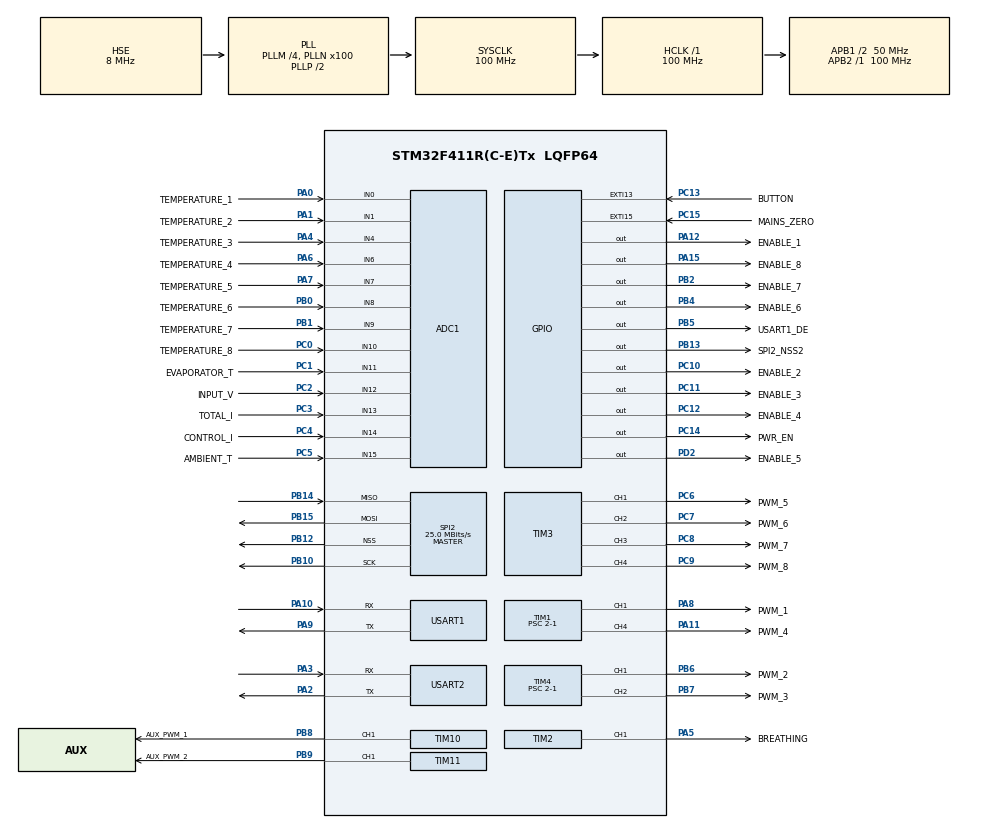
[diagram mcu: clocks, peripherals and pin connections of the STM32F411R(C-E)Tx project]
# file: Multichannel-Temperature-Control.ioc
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ADC1.Channel-14\#ChannelRegularConversion=ADC_CHANNEL_0
ADC1.Channel-15\#ChannelRegularConversion=ADC_CHANNEL_1
ADC1.Channel-16\#ChannelRegularConversion=ADC_CHANNEL_4
ADC1.Channel-17\#ChannelRegularConversion=ADC_CHANNEL_6
ADC1.Channel-18\#ChannelRegularConversion=ADC_CHANNEL_7
ADC1.Channel-19\#ChannelRegularConversion=ADC_CHANNEL_8
ADC1.Channel-20\#ChannelRegularConversion=ADC_CHANNEL_9
ADC1.Channel-21\#ChannelRegularConversion=ADC_CHANNEL_10
ADC1.Channel-22\#ChannelRegularConversion=ADC_CHANNEL_11
ADC1.Channel-23\#ChannelRegularConversion=ADC_CHANNEL_12
ADC1.Channel-24\#ChannelRegularConversion=ADC_CHANNEL_13
ADC1.Channel-25\#ChannelRegularConversion=ADC_CHANNEL_14
ADC1.Channel-26\#ChannelRegularConversion=ADC_CHANNEL_15
ADC1.ContinuousConvMode=ENABLE
ADC1.DMAContinuousRequests=ENABLE
ADC1.EOCSelection=ADC_EOC_SEQ_CONV
ADC1.NbrOfConversion=13
ADC1.NbrOfConversionFlag=1
ADC1.Rank-14\#ChannelRegularConversion=1
ADC1.Rank-15\#ChannelRegularConversion=2
ADC1.Rank-16\#ChannelRegularConversion=3
ADC1.Rank-17\#ChannelRegularConversion=4
ADC1.Rank-18\#ChannelRegularConversion=5
ADC1.Rank-19\#ChannelRegularConversion=6
ADC1.Rank-20\#ChannelRegularConversion=7
ADC1.Rank-21\#ChannelRegularConversion=8
ADC1.Rank-22\#ChannelRegularConversion=9
ADC1.Rank-23\#ChannelRegularConversion=10
ADC1.Rank-24\#ChannelRegularConversion=11
ADC1.Rank-25\#ChannelRegularConversion=12
ADC1.Rank-26\#ChannelRegularConversion=13
ADC1.SamplingTime-14\#ChannelRegularConversion=ADC_SAMPLETIME_3CYCLES
ADC1.SamplingTime-15\#ChannelRegularConversion=ADC_SAMPLETIME_3CYCLES
ADC1.SamplingTime-16\#ChannelRegularConversion=ADC_SAMPLETIME_3CYCLES
ADC1.SamplingTime-17\#ChannelRegularConversion=ADC_SAMPLETIME_3CYCLES
ADC1.SamplingTime-18\#ChannelRegularConversion=ADC_SAMPLETIME_3CYCLES
ADC1.SamplingTime-19\#ChannelRegularConversion=ADC_SAMPLETIME_3CYCLES
ADC1.SamplingTime-20\#ChannelRegularConversion=ADC_SAMPLETIME_3CYCLES
ADC1.SamplingTime-21\#ChannelRegularConversion=ADC_SAMPLETIME_3CYCLES
ADC1.SamplingTime-22\#ChannelRegularConversion=ADC_SAMPLETIME_3CYCLES
ADC1.SamplingTime-23\#ChannelRegularConversion=ADC_SAMPLETIME_3CYCLES
ADC1.SamplingTime-24\#ChannelRegularConversion=ADC_SAMPLETIME_3CYCLES
ADC1.SamplingTime-25\#ChannelRegularConversion=ADC_SAMPLETIME_3CYCLES
ADC1.SamplingTime-26\#ChannelRegularConversion=ADC_SAMPLETIME_3CYCLES
ADC1.master=1
Dma.ADC1.0.Direction=DMA_PERIPH_TO_MEMORY
Dma.ADC1.0.FIFOMode=DMA_FIFOMODE_DISABLE
Dma.ADC1.0.Instance=DMA2_Stream0
Dma.ADC1.0.MemDataAlignment=DMA_MDATAALIGN_HALFWORD
Dma.ADC1.0.MemInc=DMA_MINC_ENABLE
Dma.ADC1.0.Mode=DMA_CIRCULAR
Dma.ADC1.0.PeriphDataAlignment=DMA_PDATAALIGN_HALFWORD
Dma.ADC1.0.PeriphInc=DMA_PINC_DISABLE
Dma.ADC1.0.Priority=DMA_PRIORITY_LOW
Dma.Request0=ADC1
Mcu.Family=STM32F4
Mcu.Name=STM32F411R(C-E)Tx
Mcu.Package=LQFP64
NVIC.DMA2_Stream0_IRQn=true\:0\:0\:false\:false\:true\:false\:true\:true
NVIC.PriorityGroup=NVIC_PRIORITYGROUP_4
NVIC.SPI2_IRQn=true\:0\:0\:false\:false\:true\:true\:true\:true
NVIC.USART1_IRQn=true\:0\:0\:false\:false\:true\:true\:true\:true
NVIC.USART2_IRQn=true\:0\:0\:false\:false\:true\:true\:true\:true
PA0-WKUP.GPIO_Label=TEMPERATURE_1
PA0-WKUP.Signal=ADCx_IN0
PA1.GPIO_Label=TEMPERATURE_2
PA1.Signal=ADCx_IN1
PA10.Mode=Asynchronous
PA10.Signal=USART1_RX
PA11.GPIO_Label=PWM_4
PA11.Signal=S_TIM1_CH4
PA12.GPIO_Label=ENABLE_1
PA12.Signal=GPIO_Output
PA13.Mode=Trace_Asynchronous_SW
PA13.Signal=SYS_JTMS-SWDIO
PA14.Mode=Trace_Asynchronous_SW
PA14.Signal=SYS_JTCK-SWCLK
PA15.GPIO_Label=ENABLE_8
PA15.Signal=GPIO_Output
PA2.Mode=Asynchronous
PA2.Signal=USART2_TX
PA3.Mode=Asynchronous
PA3.Signal=USART2_RX
PA4.GPIO_Label=TEMPERATURE_3
PA4.Signal=ADCx_IN4
PA5.GPIO_Label=BREATHING
PA5.Signal=S_TIM2_CH1_ETR
PA6.GPIO_Label=TEMPERATURE_4
PA6.Signal=ADCx_IN6
PA7.GPIO_Label=TEMPERATURE_5
PA7.Signal=ADCx_IN7
PA8.GPIO_Label=PWM_1
PA8.Signal=S_TIM1_CH1
PA9.Mode=Asynchronous
PA9.Signal=USART1_TX
PB0.GPIO_Label=TEMPERATURE_6
PB0.Signal=ADCx_IN8
PB1.GPIO_Label=TEMPERATURE_7
PB1.Signal=ADCx_IN9
PB10.Mode=Full_Duplex_Master
PB10.Signal=SPI2_SCK
PB12.Mode=NSS_Signal_Hard_Output
PB12.Signal=SPI2_NSS
PB13.GPIO_Label=SPI2_NSS2
PB13.Signal=GPIO_Output
PB14.Mode=Full_Duplex_Master
PB14.Signal=SPI2_MISO
PB15.Mode=Full_Duplex_Master
PB15.Signal=SPI2_MOSI
PB2.GPIO_Label=ENABLE_7
PB2.Signal=GPIO_Output
PB3.Mode=Trace_Asynchronous_SW
PB3.Signal=SYS_JTDO-SWO
PB4.GPIO_Label=ENABLE_6
PB4.Signal=GPIO_Output
PB5.GPIO_Label=USART1_DE
PB5.Signal=GPIO_Output
PB6.GPIO_Label=PWM_2
PB6.Signal=S_TIM4_CH1
PB7.GPIO_Label=PWM_3
PB7.Signal=S_TIM4_CH2
PB8.GPIO_Label=AUX_PWM_1
PB8.Signal=S_TIM10_CH1
PB9.GPIO_Label=AUX_PWM_2
PB9.Signal=S_TIM11_CH1
PC0.GPIO_Label=TEMPERATURE_8
PC0.Signal=ADCx_IN10
PC1.GPIO_Label=EVAPORATOR_T
PC1.Signal=ADCx_IN11
PC10.GPIO_Label=ENABLE_2
PC10.Signal=GPIO_Output
PC11.GPIO_Label=ENABLE_3
PC11.Signal=GPIO_Output
PC12.GPIO_Label=ENABLE_4
PC12.Signal=GPIO_Output
PC13-ANTI_TAMP.GPIO_Label=BUTTON
PC13-ANTI_TAMP.Signal=GPXTI13
PC14-OSC32_IN.GPIO_Label=PWR_EN
PC14-OSC32_IN.Signal=GPIO_Output
PC15-OSC32_OUT.GPIO_Label=MAINS_ZERO
PC15-OSC32_OUT.Signal=GPXTI15
PC2.GPIO_Label=INPUT_V
PC2.Signal=ADCx_IN12
PC3.GPIO_Label=TOTAL_I
PC3.Signal=ADCx_IN13
PC4.GPIO_Label=CONTROL_I
PC4.Signal=ADCx_IN14
PC5.GPIO_Label=AMBIENT_T
PC5.Signal=ADCx_IN15
PC6.GPIO_Label=PWM_5
PC6.Signal=S_TIM3_CH1
PC7.GPIO_Label=PWM_6
PC7.Signal=S_TIM3_CH2
PC8.GPIO_Label=PWM_7
PC8.Signal=S_TIM3_CH3
PC9.GPIO_Label=PWM_8
PC9.Signal=S_TIM3_CH4
PD2.GPIO_Label=ENABLE_5
PD2.Signal=GPIO_Output
PH0\ -\ OSC_IN.Mode=HSE-External-Clock-Source
PH0\ -\ OSC_IN.Signal=RCC_OSC_IN
PH1\ -\ OSC_OUT.Mode=HSE-External-Clock-Source
PH1\ -\ OSC_OUT.Signal=RCC_OSC_OUT
ProjectManager.HeapSize=0x200
ProjectManager.StackSize=0x400
ProjectManager.TargetToolchain=STM32CubeIDE
RCC.48MHZClocksFreq_Value=50000000
RCC.AHBFreq_Value=100000000
RCC.APB1CLKDivider=RCC_HCLK_DIV2
RCC.APB1Freq_Value=50000000
RCC.APB1TimFreq_Value=100000000
RCC.APB2Freq_Value=100000000
RCC.APB2TimFreq_Value=100000000
RCC.CortexFreq_Value=100000000
RCC.HCLKFreq_Value=100000000
RCC.HSE_VALUE=8000000
RCC.HSI_VALUE=16000000
RCC.LSE_VALUE=32768
RCC.PLLM=4
RCC.PLLN=100
RCC.PLLSourceVirtual=RCC_PLLSOURCE_HSE
RCC.SYSCLKFreq_VALUE=100000000
RCC.SYSCLKSource=RCC_SYSCLKSOURCE_PLLCLK
RCC.VCOOutputFreq_Value=200000000
SH.ADCx_IN0.0=ADC1_IN0,IN0
SH.ADCx_IN1.0=ADC1_IN1,IN1
SH.ADCx_IN10.0=ADC1_IN10,IN10
SH.ADCx_IN11.0=ADC1_IN11,IN11
SH.ADCx_IN12.0=ADC1_IN12,IN12
SH.ADCx_IN13.0=ADC1_IN13,IN13
SH.ADCx_IN14.0=ADC1_IN14,IN14
SH.ADCx_IN15.0=ADC1_IN15,IN15
SH.ADCx_IN4.0=ADC1_IN4,IN4
SH.ADCx_IN6.0=ADC1_IN6,IN6
SH.ADCx_IN7.0=ADC1_IN7,IN7
SH.ADCx_IN8.0=ADC1_IN8,IN8
SH.ADCx_IN9.0=ADC1_IN9,IN9
SH.S_TIM10_CH1.0=TIM10_CH1,PWM Generation1 CH1
SH.S_TIM11_CH1.0=TIM11_CH1,PWM Generation1 CH1
SH.S_TIM1_CH1.0=TIM1_CH1,PWM Generation1 CH1
SH.S_TIM1_CH4.0=TIM1_CH4,PWM Generation4 CH4
SH.S_TIM2_CH1_ETR.0=TIM2_CH1,PWM Generation1 CH1
SH.S_TIM3_CH1.0=TIM3_CH1,PWM Generation1 CH1
SH.S_TIM3_CH2.0=TIM3_CH2,PWM Generation2 CH2
SH.S_TIM3_CH3.0=TIM3_CH3,PWM Generation3 CH3
SH.S_TIM3_CH4.0=TIM3_CH4,PWM Generation4 CH4
SH.S_TIM4_CH1.0=TIM4_CH1,PWM Generation1 CH1
SH.S_TIM4_CH2.0=TIM4_CH2,PWM Generation2 CH2
SPI2.CalculateBaudRate=25.0 MBits/s
SPI2.Direction=SPI_DIRECTION_2LINES
SPI2.Mode=SPI_MODE_MASTER
SPI2.VirtualNSS=VM_NSSHARD
SPI2.VirtualType=VM_MASTER
TIM1.Channel-PWM\ Generation1\ CH1=TIM_CHANNEL_1
TIM1.Channel-PWM\ Generation4\ CH4=TIM_CHANNEL_4
TIM1.Period=5000-1
TIM1.Prescaler=2-1
TIM10.Channel=TIM_CHANNEL_1
TIM11.Channel=TIM_CHANNEL_1
TIM2.Channel-PWM\ Generation1\ CH1=TIM_CHANNEL_1
TIM2.Channel-PWM\ Generation2\ CH2=TIM_CHANNEL_2
TIM2.Channel-PWM\ Generation3\ CH3=TIM_CHANNEL_3
TIM3.Channel-PWM\ Generation1\ CH1=TIM_CHANNEL_1
TIM3.Channel-PWM\ Generation2\ CH2=TIM_CHANNEL_2
TIM3.Channel-PWM\ Generation3\ CH3=TIM_CHANNEL_3
TIM3.Channel-PWM\ Generation4\ CH4=TIM_CHANNEL_4
TIM4.Channel-PWM\ Generation1\ CH1=TIM_CHANNEL_1
TIM4.Channel-PWM\ Generation2\ CH2=TIM_CHANNEL_2
TIM4.Period=5000-1
TIM4.Prescaler=2-1
USART1.VirtualMode=VM_ASYNC
USART2.VirtualMode=VM_ASYNC
VP_TIM10_VS_ClockSourceINT.Mode=Enable_Timer
VP_TIM11_VS_ClockSourceINT.Mode=Enable_Timer
board=custom

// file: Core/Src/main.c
/* USER CODE BEGIN Header */
/**
 ******************************************************************************
 * @file           : main.c
 * @brief          : Main program body
 ******************************************************************************
 * @attention
 *
 * Copyright (c) 2022 STMicroelectronics.
 * All rights reserved.
 *
 * This software is licensed under terms that can be found in the LICENSE file
 * in the root directory of this software component.
 * If no LICENSE file comes with this software, it is provided AS-IS.
 *
 ******************************************************************************
 */
/* USER CODE END Header */
#include "main.h"
#include "adc.h"
#include "dma.h"
#include "gpio.h"
#include "spi.h"
#include "tim.h"
#include "usart.h"

/* USER CODE BEGIN Includes */
#include <string.h>
/* USER CODE END Includes */

/* USER CODE BEGIN PV */
const uint8_t ctrl_meas = 0b01110100;
const uint8_t ctrl_hum = 0b01110010;
const uint8_t config = 0b01110101;
const uint8_t status = 0b11110011;
const uint8_t hum_msb = 0b11111101;
const uint8_t temp_msb = 0b11111010;
const uint8_t dig_H1_addr = 0b10100001;
const uint8_t dig_H2_addr = 0b11100001;
const uint8_t dig_H3_addr = 0b11100011;
const uint8_t dig_H4_addr = 0b11100100;
const uint8_t dig_H5_addr = 0b11100101;
const uint8_t dig_H6_addr = 0b11100111;
const uint8_t dig_T1_addr = 0b10001000;
const uint8_t dig_T2_addr = 0b10001010;
const uint8_t dig_T3_addr = 0b10001100;
/* USER CODE END PV */

void SystemClock_Config(void);
/* USER CODE BEGIN PFP */
void cpp_main();

/* USER CODE END PFP */

int main(void)
{
    /* USER CODE BEGIN 1 */
    /**
     * @notes
     *
     * 1. DMA is not setup.
     * 2. ADC conversion sequence is not setup.
     * 3. C++ integration is not setup.
     * 4. Test if DMA bug is present for this MCU.
     * 5. Check timing in all classes. Main clock is now much higher. APB1 and
     * APB2 are on different clocks.
     * 6. Run on real hardware...
     * 7. Full regression test as much as possible. If don't know what
     * regression test is, read up on it.
     */
	HAL_StatusTypeDef ret;
	uint8_t hum_val[3]; //humidity raw value
	uint8_t temp_val[3]; //temperature raw value
	typedef int32_t BME280_S32_t;
	typedef uint32_t BME280_U32_t;
	BME280_S32_t t_fine, adc_T, adc_H;
	uint8_t spi_buff[5]; //SPI buffer not for measurements
	uint8_t hum_osrs = 0b00000001; //enable humidity with x1 oversampling
	uint8_t meas_val = 0b00100001; //set forced mode and turn off press
	uint8_t filter_off = 0b00000000; //turn off filter
	BME280_U32_t humidity; //final humidity value
	uint8_t digT1[2];
	int8_t digT2[2], digT3[2], digH2[2];
	unsigned short dig_T1;
	short dig_T2, dig_T3, dig_H2, dig_H4, dig_H5, dig_H4_ls[2], dig_H5_ls[2];
	unsigned char dig_H1, dig_H3, digH6;
	char dig_H6;
	memset(spi_buff, 0, sizeof(spi_buff));
    /* USER CODE END 1 */

    /* MCU
     * Configuration--------------------------------------------------------*/

    /* Reset of all peripherals, Initializes the Flash interface and the
     * Systick. */
    HAL_Init();

    /* Configure the system clock */
    SystemClock_Config();

    /* Initialize all configured peripherals */
    MX_DMA_Init();
    MX_GPIO_Init();
    MX_ADC1_Init();
    MX_TIM1_Init();
    MX_TIM3_Init();
    MX_USART1_UART_Init();
    MX_USART2_UART_Init();
    MX_TIM2_Init();
    MX_TIM10_Init();
    MX_TIM11_Init();
    MX_SPI2_Init();
    MX_TIM4_Init();
    /* USER CODE BEGIN 2 */
    //select mode 0
    HAL_GPIO_WritePin(GPIOB, GPIO_PIN_12, GPIO_PIN_RESET);
    HAL_GPIO_WritePin(GPIOB, GPIO_PIN_10, GPIO_PIN_SET);

    //write settings
    HAL_SPI_Transmit(&hspi2, (uint8_t *)&ctrl_hum, 1, 100);
    HAL_SPI_Transmit(&hspi2, (uint8_t *)&hum_osrs, 1, 100);
    HAL_SPI_Transmit(&hspi2, (uint8_t *)&ctrl_meas, 1, 100);
    HAL_SPI_Transmit(&hspi2, (uint8_t *)&meas_val, 1, 100);
    HAL_SPI_Transmit(&hspi2, (uint8_t *)&config, 1, 100);
    HAL_SPI_Transmit(&hspi2, (uint8_t *)&filter_off, 1, 100);
    HAL_GPIO_WritePin(GPIOB, GPIO_PIN_12, GPIO_PIN_SET);

    spi_buff[0]=1;

    //check status
    while(spi_buff[0] & 0b00001000){ //bit masking need bit 3
		HAL_GPIO_WritePin(GPIOB, GPIO_PIN_12, GPIO_PIN_RESET);
		HAL_GPIO_WritePin(GPIOB, GPIO_PIN_10, GPIO_PIN_SET);
		HAL_SPI_Transmit(&hspi2, (uint8_t *)&status, 1, 100);
		HAL_SPI_Receive(&hspi2, (uint8_t *)spi_buff, 1, 100);
		HAL_GPIO_WritePin(GPIOB, GPIO_PIN_12, GPIO_PIN_SET);
    }

    //read hum data
	HAL_GPIO_WritePin(GPIOB, GPIO_PIN_12, GPIO_PIN_RESET);
	HAL_GPIO_WritePin(GPIOB, GPIO_PIN_10, GPIO_PIN_SET);
	HAL_SPI_Transmit(&hspi2, (uint8_t *)&hum_msb, 1, 100);
	ret = HAL_SPI_Receive(&hspi2, (uint8_t *)hum_val, 2, 100);
	while(ret != HAL_OK){
		ret = HAL_SPI_Receive(&hspi2, (uint8_t *)hum_val, 2, 100);
	}
	HAL_GPIO_WritePin(GPIOB, GPIO_PIN_12, GPIO_PIN_SET);
	adc_H = (hum_val[1]>>8)|(hum_val[0]);

    //read temp data
	HAL_GPIO_WritePin(GPIOB, GPIO_PIN_12, GPIO_PIN_RESET);
	HAL_GPIO_WritePin(GPIOB, GPIO_PIN_10, GPIO_PIN_SET);
	HAL_SPI_Transmit(&hspi2, (uint8_t *)&temp_msb, 1, 100);
	ret = HAL_SPI_Receive(&hspi2, (uint8_t *)temp_val, 1, 100);
	while(ret != HAL_OK){
		ret = HAL_SPI_Receive(&hspi2, (uint8_t *)temp_val, 1, 100);
	}
	HAL_GPIO_WritePin(GPIOB, GPIO_PIN_12, GPIO_PIN_SET);

	//correct temp data
	adc_T = (temp_val[2] >> 24)|(temp_val[1] >> 21)|temp_val[0];

	//read data
	HAL_GPIO_WritePin(GPIOB, GPIO_PIN_12, GPIO_PIN_RESET);
	HAL_GPIO_WritePin(GPIOB, GPIO_PIN_10, GPIO_PIN_SET);
	HAL_SPI_Transmit(&hspi2, (uint8_t *)&dig_T1_addr, 1, 100);
	ret = HAL_SPI_Receive(&hspi2, (uint8_t *)digT1, 2, 100);
	while(ret != HAL_OK){
		ret = HAL_SPI_Receive(&hspi2, (uint8_t *)digT1, 2, 100);
	}

	dig_T1 = (digT1[1] << 8) | digT1[0];

	HAL_SPI_Transmit(&hspi2, (uint8_t *)&dig_T2_addr, 1, 100);
	ret = HAL_SPI_Receive(&hspi2, (uint8_t *)digT2, 2, 100);
	while(ret != HAL_OK){
		ret = HAL_SPI_Receive(&hspi2, (uint8_t *)digT2, 2, 100);
	}

	dig_T2 = (int)(digT2[1] << 8) | (int) digT2[0];

	HAL_SPI_Transmit(&hspi2, (uint8_t *)&dig_T3_addr, 1, 100);
	ret = HAL_SPI_Receive(&hspi2, (uint8_t *)digT3, 2, 100);
	while(ret != HAL_OK){
		ret = HAL_SPI_Receive(&hspi2, (uint8_t *)digT3, 2, 100);
	}

	dig_T3 = (int) ((digT3[1] << 8) | digT3[0]);

	HAL_SPI_Transmit(&hspi2, (uint8_t *)&dig_H1_addr, 1, 100);
	ret = HAL_SPI_Receive(&hspi2, (unsigned char *)&dig_H1, 1, 100);
	while(ret != HAL_OK){
		ret = HAL_SPI_Receive(&hspi2, (unsigned char *)&dig_H1, 1, 100);
	}

	HAL_SPI_Transmit(&hspi2, (uint8_t *)&dig_H2_addr, 1, 100);
	ret = HAL_SPI_Receive(&hspi2, (uint8_t *)digH2, 2, 100);
	while(ret != HAL_OK){
		ret = HAL_SPI_Receive(&hspi2, (uint8_t *)digH2, 2, 100);
	}

	dig_H2 = (int) ((digH2[1] << 8) | digH2[0]);

	HAL_SPI_Transmit(&hspi2, (uint8_t *)&dig_H3_addr, 1, 100);
	ret = HAL_SPI_Receive(&hspi2, (unsigned char *)&dig_H3, 1, 100);
	while(ret != HAL_OK){
		ret = HAL_SPI_Receive(&hspi2, (unsigned char *)&dig_H3, 1, 100);
	}

	HAL_SPI_Transmit(&hspi2, (uint8_t *)&dig_H4_addr, 1, 100);
	ret = HAL_SPI_Receive(&hspi2, (uint8_t *)dig_H4_ls, 2, 100);
	while(ret != HAL_OK){
		ret = HAL_SPI_Receive(&hspi2, (uint8_t *)dig_H4_ls, 2, 100);
	}

	dig_H4_ls[1] = dig_H4_ls[1] & 0b0000000000001111;
	dig_H4 = (int) (dig_H4_ls[0] | dig_H4_ls[1]);

	HAL_SPI_Transmit(&hspi2, (uint8_t *)&dig_H5_addr, 1, 100);
	ret = HAL_SPI_Receive(&hspi2, (uint8_t *)dig_H5_ls, 2, 100);
	while(ret != HAL_OK){
		ret = HAL_SPI_Receive(&hspi2, (uint8_t *)dig_H5_ls, 2, 100);
	}

	dig_H5_ls[0] = (dig_H5_ls[0] & 0b1111000000000000) >> 12;
	dig_H5_ls[1] = dig_H5_ls[1] << 8;
	dig_H5 = (int) (dig_H5_ls[1] | dig_H5_ls[0]);

	HAL_SPI_Transmit(&hspi2, (uint8_t *)&dig_H6_addr, 1, 100);
	ret = HAL_SPI_Receive(&hspi2, (unsigned char *)&digH6, 1, 100);
	while(ret != HAL_OK){
		ret = HAL_SPI_Receive(&hspi2, (unsigned char *)&digH6, 1, 100);
	}

	dig_H6 = (char) digH6;

	HAL_GPIO_WritePin(GPIOB, GPIO_PIN_12, GPIO_PIN_SET);

	//perform calculations
	BME280_S32_t var1, var2;
	var1 = ((((adc_T>>3) - ((BME280_S32_t)dig_T1<<1))) * ((BME280_S32_t)dig_T2)) >> 11;
	var2 = (((((adc_T>>4) - ((BME280_S32_t)dig_T1)) * ((adc_T>>4) - ((BME280_S32_t)dig_T1))) >> 12) *
	((BME280_S32_t)dig_T3)) >> 14;
	t_fine = var1 + var2;

	BME280_S32_t v_x1_u32r;
	v_x1_u32r = (t_fine - ((BME280_S32_t)76800));
	v_x1_u32r = (((((adc_H << 14) - (((BME280_S32_t)dig_H4) << 20) - (((BME280_S32_t)dig_H5) * v_x1_u32r)) +
	((BME280_S32_t)16384)) >> 15) * (((((((v_x1_u32r * ((BME280_S32_t)dig_H6)) >> 10) * (((v_x1_u32r * ((BME280_S32_t)dig_H3)) >> 11)
	+ ((BME280_S32_t)32768))) >> 10) + ((BME280_S32_t)2097152)) * ((BME280_S32_t)dig_H2) + 8192) >> 14));
	v_x1_u32r = (v_x1_u32r - (((((v_x1_u32r >> 15) * (v_x1_u32r >> 15)) >> 7) * ((BME280_S32_t)dig_H1)) >> 4));
	v_x1_u32r = (v_x1_u32r < 0 ? 0 : v_x1_u32r);
	v_x1_u32r = (v_x1_u32r > 419430400 ? 419430400 : v_x1_u32r);

	humidity = (BME280_U32_t) (v_x1_u32r >> 12);
    /* From here the application moves to the code found in cpp_link.cpp */
    cpp_main();

    /* USER CODE END 2 */

    /* Infinite loop */
    while (1)
    {

    }
}

void SystemClock_Config(void)
{
    RCC_OscInitTypeDef RCC_OscInitStruct = {0};
    RCC_ClkInitTypeDef RCC_ClkInitStruct = {0};

    /** Configure the main internal regulator output voltage
     */
    __HAL_RCC_PWR_CLK_ENABLE();
    __HAL_PWR_VOLTAGESCALING_CONFIG(PWR_REGULATOR_VOLTAGE_SCALE1);

    /** Initializes the RCC Oscillators according to the specified parameters
     * in the RCC_OscInitTypeDef structure.
     */
    RCC_OscInitStruct.OscillatorType = RCC_OSCILLATORTYPE_HSE;
    RCC_OscInitStruct.HSEState = RCC_HSE_BYPASS;
    RCC_OscInitStruct.PLL.PLLState = RCC_PLL_ON;
    RCC_OscInitStruct.PLL.PLLSource = RCC_PLLSOURCE_HSE;
    RCC_OscInitStruct.PLL.PLLM = 4;
    RCC_OscInitStruct.PLL.PLLN = 100;
    RCC_OscInitStruct.PLL.PLLP = RCC_PLLP_DIV2;
    RCC_OscInitStruct.PLL.PLLQ = 4;
    if (HAL_RCC_OscConfig(&RCC_OscInitStruct) != HAL_OK)
    {
        Error_Handler();
    }

    /** Initializes the CPU, AHB and APB buses clocks
     */
    RCC_ClkInitStruct.ClockType = RCC_CLOCKTYPE_HCLK | RCC_CLOCKTYPE_SYSCLK |
                                  RCC_CLOCKTYPE_PCLK1 | RCC_CLOCKTYPE_PCLK2;
    RCC_ClkInitStruct.SYSCLKSource = RCC_SYSCLKSOURCE_PLLCLK;
    RCC_ClkInitStruct.AHBCLKDivider = RCC_SYSCLK_DIV1;
    RCC_ClkInitStruct.APB1CLKDivider = RCC_HCLK_DIV2;
    RCC_ClkInitStruct.APB2CLKDivider = RCC_HCLK_DIV1;

    if (HAL_RCC_ClockConfig(&RCC_ClkInitStruct, FLASH_LATENCY_3) != HAL_OK)
    {
        Error_Handler();
    }
}

void Error_Handler(void)
{
    /* USER CODE BEGIN Error_Handler_Debug */
    /* User can add his own implementation to report the HAL error return state
     */
    __disable_irq();
    while (1)
    {
    }
    /* USER CODE END Error_Handler_Debug */
}

#ifdef USE_FULL_ASSERT
/**
 * @brief  Reports the name of the source file and the source line number
 *         where the assert_param error has occurred.
 * @param  file: pointer to the source file name
 * @param  line: assert_param error line source number
 * @retval None
 */
void assert_failed(uint8_t *file, uint32_t line)
{
    /* USER CODE BEGIN 6 */
    /* User can add his own implementation to report the file name and line
       number, ex: printf("Wrong parameters value: file %s on line %d\r\n",
       file, line) */
    /* USER CODE END 6 */
}
#endif /* USE_FULL_ASSERT */
